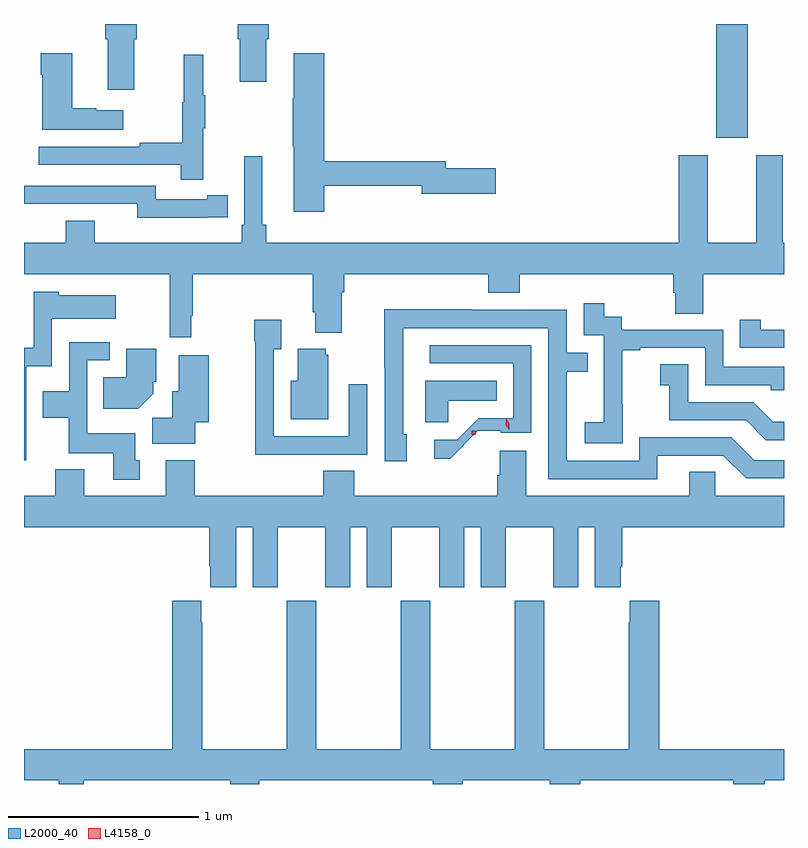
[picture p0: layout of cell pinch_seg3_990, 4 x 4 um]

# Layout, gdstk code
import gdstk
lib = gdstk.Library(unit=1e-6, precision=1e-09)
def R(c, l, rs):  # rectangles x0, y0, x1, y1
    for r in rs: c.add(gdstk.rectangle(r[:2], r[2:], *l))
def P(c, l, *ps):  # polygons
    for p in ps: c.add(gdstk.Polygon(p, *l))
L2000_40 = (2000, 40)
L4158_0 = (4158, 0)

pinch_seg3_990 = lib.new_cell('pinch_seg3_990')
R(pinch_seg3_990, L2000_40, [(500.117,701.634,500.281,702.232)])
P(pinch_seg3_990, L2000_40, [(497.053,702.152),(497.066,702.152),(497.066,702.232),(496.901,702.232),(496.901,702.152),(496.913,702.152),(496.913,701.886),(497.053,701.886)],
  [(497.749,702.152),(497.762,702.152),(497.762,702.232),(497.597,702.232),(497.597,702.152),(497.609,702.152),(497.609,701.928),(497.749,701.928)],
  [(498.053,701.382),(498.566,701.382),(498.566,701.339),(498.955,701.339),(498.955,701.474),(498.694,701.474),(498.694,701.51),(498.053,701.51),(498.053,702.079),(497.894,702.079),(497.894,701.84),(497.887,701.84),(497.887,701.587),(497.894,701.587),(497.894,701.244),(498.053,701.244)],
  [(496.996,701.779),(496.853,701.779),(496.853,701.789),(496.726,701.789),(496.726,702.079),(496.561,702.079),(496.561,701.966),(496.568,701.966),(496.568,701.675),(496.996,701.675)],
  [(497.417,701.683),(497.428,701.683),(497.428,701.857),(497.417,701.857),(497.417,702.07),(497.314,702.07),(497.314,701.82),(497.307,701.82),(497.307,701.606),(497.083,701.606),(497.083,701.586),(496.551,701.586),(496.551,701.49),(497.299,701.49),(497.299,701.412),(497.417,701.412)],
  [(497.353,700.696),(497.36,700.696),(497.36,700.916),(497.993,700.916),(497.993,700.714),(498.005,700.714),(498.005,700.607),(498.145,700.607),(498.145,700.82),(498.158,700.82),(498.158,700.916),(498.917,700.916),(498.917,700.817),(499.082,700.817),(499.082,700.916),(499.889,700.916),(499.889,700.818),(499.901,700.818),(499.901,700.708),(500.049,700.708),(500.049,700.916),(500.473,700.916),(500.473,701.08),(500.467,701.08),(500.467,701.542),(500.327,701.542),(500.327,701.08),(500.071,701.08),(500.071,701.542),(499.919,701.542),(499.919,701.08),(497.747,701.08),(497.747,701.176),(497.728,701.176),(497.728,701.536),(497.631,701.536),(497.631,701.176),(497.618,701.176),(497.618,701.08),(496.846,701.08),(496.846,701.197),(496.694,701.197),(496.694,701.08),(496.473,701.08),(496.473,700.916),(497.239,700.916),(497.239,700.584),(497.353,700.584)],
  [(497.438,701.214),(497.546,701.214),(497.546,701.33),(497.438,701.33),(497.438,701.31),(497.166,701.31),(497.166,701.382),(496.473,701.382),(496.473,701.285),(496.61,701.285),(496.61,701.286),(497.07,701.286),(497.07,701.213),(497.438,701.213)],
  [(496.486,700.43),(496.62,700.43),(496.62,700.682),(496.957,700.682),(496.957,700.804),(496.656,700.804),(496.656,700.822),(496.524,700.822),(496.524,700.527),(496.473,700.527),(496.473,699.936),(496.486,699.936)],
  [(499.623,700.231),(499.622,700.231),(499.622,700.515),(499.717,700.515),(499.717,700.527),(500.058,700.527),(500.058,700.332),(500.403,700.332),(500.403,700.305),(500.473,700.305),(500.473,700.428),(500.154,700.428),(500.154,700.623),(499.62,700.623),(499.62,700.692),(499.528,700.692),(499.528,700.762),(499.419,700.762),(499.419,700.593),(499.524,700.593),(499.524,700.364),(499.523,700.364),(499.523,700.135),(499.425,700.135),(499.425,700.025),(499.623,700.025)],
  [(499.807,699.96),(500.154,699.96),(500.274,699.84),(500.473,699.84),(500.473,699.936),(500.316,699.936),(500.196,700.056),(499.71,700.056),(499.71,699.933),(499.329,699.933),(499.329,700.402),(499.439,700.402),(499.439,700.503),(499.329,700.503),(499.329,700.728),(498.833,700.728),(498.833,700.73),(498.37,700.73),(498.37,700.423),(498.372,700.423),(498.372,699.93),(498.487,699.93),(498.487,700.074),(498.468,700.074),(498.468,700.632),(499.233,700.632),(499.233,699.837),(499.807,699.837)],
  [(497.963,699.966),(498.279,699.966),(498.279,700.336),(498.183,700.336),(498.183,700.062),(497.787,700.062),(497.787,700.519),(497.827,700.519),(497.827,700.675),(497.684,700.675),(497.684,700.562),(497.689,700.562),(497.689,699.965),(497.963,699.965)],
  [(500.473,700.623),(500.35,700.623),(500.35,700.675),(500.239,700.675),(500.239,700.527),(500.473,700.527)],
  [(497.083,699.936),(497.059,699.936),(497.059,700.078),(496.806,700.078),(496.806,700.461),(496.924,700.461),(496.924,700.557),(496.71,700.557),(496.71,700.3),(496.571,700.3),(496.571,700.16),(496.708,700.16),(496.708,699.974),(496.943,699.974),(496.943,699.834),(497.083,699.834)],
  [(498.862,700.09),(498.981,700.09),(498.981,700.081),(499.143,700.081),(499.143,700.542),(498.609,700.542),(498.609,700.446),(499.047,700.446),(499.047,700.158),(498.866,700.158),(498.752,700.044),(498.633,700.044),(498.633,699.945),(498.717,699.945)],
  [(498.073,700.491),(498.062,700.491),(498.062,700.522),(497.915,700.522),(497.915,700.354),(497.876,700.354),(497.876,700.151),(498.073,700.151)],
  [(497.152,700.286),(497.152,700.35),(497.17,700.35),(497.17,700.522),(497.012,700.522),(497.012,700.372),(496.891,700.372),(496.891,700.208),(497.074,700.208)],
  [(497.374,700.136),(497.446,700.136),(497.446,700.489),(497.288,700.489),(497.288,700.3),(497.252,700.3),(497.252,700.16),(497.147,700.16),(497.147,700.022),(497.374,700.022)],
  [(500.473,700.138),(500.414,700.138),(500.31,700.242),(499.968,700.242),(499.968,700.441),(499.821,700.441),(499.821,700.331),(499.87,700.331),(499.87,700.146),(500.273,700.146),(500.378,700.041),(500.473,700.041)],
  [(498.705,700.25),(498.962,700.25),(498.962,700.354),(498.584,700.354),(498.584,700.135),(498.705,700.135)],
  [(497.59,699.584),(497.678,699.584),(497.678,699.267),(497.809,699.267),(497.809,699.584),(498.059,699.584),(498.059,699.267),(498.19,699.267),(498.19,699.584),(498.278,699.584),(498.278,699.267),(498.409,699.267),(498.409,699.584),(498.659,699.584),(498.659,699.267),(498.79,699.267),(498.79,699.584),(498.878,699.584),(498.878,699.267),(499.009,699.267),(499.009,699.584),(499.259,699.584),(499.259,699.267),(499.39,699.267),(499.39,699.584),(499.478,699.584),(499.478,699.267),(499.615,699.267),(499.615,699.379),(499.622,699.379),(499.622,699.584),(500.473,699.584),(500.473,699.748),(500.112,699.748),(500.112,699.875),(499.973,699.875),(499.973,699.748),(499.117,699.748),(499.117,699.985),(498.977,699.985),(498.977,699.858),(498.965,699.858),(498.965,699.748),(498.212,699.748),(498.212,699.881),(498.047,699.881),(498.047,699.748),(497.372,699.748),(497.372,699.937),(497.219,699.937),(497.219,699.748),(496.789,699.748),(496.789,699.889),(496.637,699.889),(496.637,699.748),(496.473,699.748),(496.473,699.584),(497.447,699.584),(497.447,699.379),(497.453,699.379),(497.453,699.267),(497.59,699.267)],
  [(496.787,698.252),(497.558,698.252),(497.558,698.232),(497.711,698.232),(497.711,698.252),(498.623,698.252),(498.623,698.232),(498.783,698.232),(498.783,698.252),(499.24,698.252),(499.24,698.232),(499.4,698.232),(499.4,698.252),(500.207,698.252),(500.207,698.232),(500.372,698.232),(500.372,698.252),(500.473,698.252),(500.473,698.416),(499.817,698.416),(499.817,699.196),(499.661,699.196),(499.661,699.083),(499.657,699.083),(499.657,698.416),(499.212,698.416),(499.212,699.196),(499.057,699.196),(499.057,698.416),(498.612,698.416),(498.612,699.196),(498.457,699.196),(498.457,698.416),(498.012,698.416),(498.012,699.196),(497.857,699.196),(497.857,698.416),(497.412,698.416),(497.412,699.083),(497.407,699.083),(497.407,699.196),(497.252,699.196),(497.252,698.416),(496.473,698.416),(496.473,698.252),(496.657,698.252),(496.657,698.232),(496.787,698.232)])
R(pinch_seg3_990, L4158_0, [(498.83,700.07,498.85,700.09)])
P(pinch_seg3_990, L4158_0, [(499.026,700.096),(499.026,700.096),(499.009,700.123),(499.01,700.155),(499.01,700.155),(499.01,700.155),(499.028,700.128),(499.026,700.096)])

lib.write_gds('pinch_seg3_990.gds')
